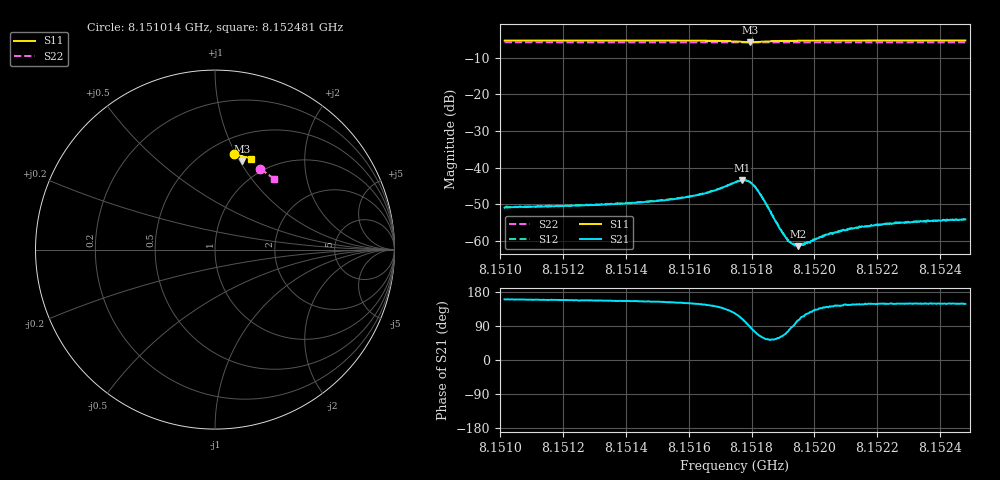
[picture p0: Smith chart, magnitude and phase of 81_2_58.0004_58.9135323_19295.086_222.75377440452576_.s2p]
#  HZ  S  RI  R  50.00
! Rohde & Schwarz Vector Network Analyzer
! Rohde-Schwarz,ZNB20-2Port,1311601062101988,3.16
! Created: UTC 3/21/2024, 12:53:54 AM
! freq[Hz]  re:S11  im:S11  re:S21  im:S21  re:S12  im:S12  re:S22  im:S22
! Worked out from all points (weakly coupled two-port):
!   401 points, 8.151014 GHz to 8.152481 GHz, reference 50 ohm
!   highest |S21| = -43.48 dB at 8.151769 GHz (marker M1); lowest = -61.4 dB at 8.151949 GHz (marker M2)
!   lowest |S11| = -5.8 dB at 8.151795 GHz (marker M3), VSWR 3.13, Z = 37.9 + j51 ohm
!   |S11| at or under -10 dB: nowhere
!   |S22| runs from -5.8 to -5.8 dB; largest |S21 - S12| = 0.00013
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8.1510136e9  0.1049 0.5325  -0.00267 0.000967  -0.00271 0.001  0.2525 0.4481
8.1512594e9  0.1227 0.529  -0.00282 0.00118  -0.00283 0.00124  0.266 0.4399
8.1515052e9  0.1414 0.5241  -0.00319 0.00155  -0.00315 0.00163  0.2793 0.4309
8.1516409e9  0.1538 0.5188  -0.00366 0.00236  -0.00363 0.00245  0.2867 0.4258
8.1516923e9  0.1592 0.5142  -0.00389 0.00321  -0.00388 0.00333  0.2894 0.4238
8.1517473e9  0.1627 0.5031  -0.00341 0.00528  -0.00335 0.00532  0.2921 0.4213
8.1517694e9  0.1594 0.4964  -0.00218 0.00634  -0.0021 0.00638  0.2929 0.4204
8.151795e9  0.1494 0.4936  0.000282 0.00631  0.000382 0.00637  0.2939 0.4195
8.1518097e9  0.144 0.4966  0.00144 0.00536  0.00154 0.00537  0.2944 0.4193
8.1518281e9  0.141 0.5032  0.00197 0.00382  0.00205 0.00382  0.2953 0.4187
8.1518831e9  0.1472 0.515  0.000889 0.00143  0.000948 0.00138  0.2985 0.417
8.1519088e9  0.1515 0.5167  0.000392 0.00104  0.000406 0.00106  0.2999 0.4162
8.1519198e9  0.1529 0.5171  0.000176 0.000955  0.000186 0.000998  0.3004 0.4158
8.1519308e9  0.1543 0.5173  2.28e-05 0.000909  3.4e-05 0.000937  0.3012 0.4154
8.1519491e9  0.1566 0.5177  -0.00022 0.000817  -0.00021 0.000839  0.3022 0.4147
8.1519932e9  0.1615 0.5174  -0.000606 0.000796  -0.000631 0.000778  0.3044 0.4129
8.1520408e9  0.1661 0.5167  -0.000936 0.000783  -0.000915 0.000802  0.3069 0.411
8.1520922e9  0.1705 0.5159  -0.00115 0.000828  -0.00113 0.000823  0.3097 0.4089
8.1521509e9  0.1752 0.5147  -0.00132 0.000855  -0.00132 0.000874  0.3126 0.4067
8.152239e9  0.1819 0.5129  -0.00148 0.000897  -0.00146 0.000899  0.3169 0.4031
8.15236e9  0.1906 0.5101  -0.00161 0.000986  -0.00163 0.000981  0.3229 0.3981
8.1524811e9  0.199 0.5072  -0.00167 0.00104  -0.00169 0.00103  0.3289 0.393
